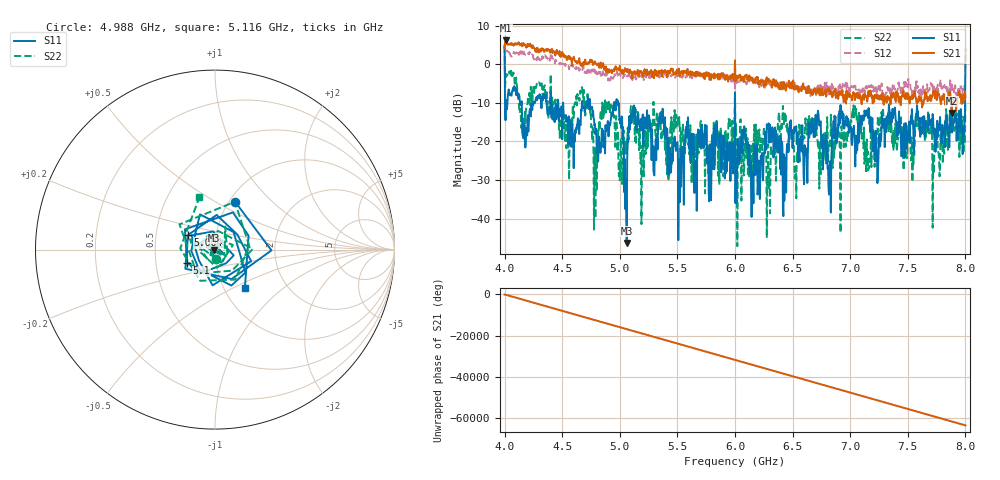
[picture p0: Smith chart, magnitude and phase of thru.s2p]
# Hz S RI R 50
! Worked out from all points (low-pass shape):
!   1001 points, 4 GHz to 8 GHz, reference 50 ohm
!   highest |S21| = 6.21 dB at 4.012 GHz (marker M1); lowest = -12.6 dB at 7.88 GHz (marker M2)
!   |S21| within 3 dB of the highest: start of sweep to 4.295 GHz; 4.297 GHz to 4.394 GHz (96.3 MHz wide, 2.22 % of centre) (the widest 2 of 7)
!   lowest |S11| = -46.4 dB at 5.06 GHz (marker M3), VSWR 1.01, Z = 49.6 - j0.194 ohm
!   |S11| at or under -10 dB: 4.742 GHz to 4.952 GHz (209.8 MHz wide, 4.33 % of centre); 4.986 GHz to 5.999 GHz (1.014 GHz wide, 18.5 % of centre); 6 GHz to 7.997 GHz (1.997 GHz wide, 28.5 % of centre) (the widest 3 of 17)
!   |S22| runs from -47.2 to 4.8 dB; largest |S21 - S12| = 2.2
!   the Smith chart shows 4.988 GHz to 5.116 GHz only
!   S11 on the Smith chart (normalised r, x): 4.988 GHz: 1.07, +0.62; 5.004 GHz: 0.73, +0.12; 5.1 GHz: 0.72, -0.11; 5.116 GHz: 1.25, -0.58
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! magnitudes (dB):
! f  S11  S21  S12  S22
! 4 GHz  4.9  4.3  4.5  4.8
! 4.012 GHz  -10.9  6.2  3.5  -3.4
! 4.544 GHz  -13.9  1.8  -0.3  -16.9
! 4.668 GHz  -12.1  -0.2  -1.8  -6.9
! 4.788 GHz  -18.1  0.4  -1.5  -39.9
! 4.884 GHz  -16.4  -2.0  -2.9  -9.8
! 4.988 GHz  -10.8  -1.5  -2.4  -25.5
! 5.004 GHz  -15.4  -1.3  -2.2  -26.0
! 5.06 GHz  -46.4  -1.9  -3.2  -19.8
! 5.1 GHz  -15.2  -2.3  -3.7  -14.3
! 5.116 GHz  -11.4  -2.0  -3.7  -10.3
! 5.336 GHz  -14.6  -2.3  -2.9  -16.9
! 6 GHz  -7.5  1.0  -6.3  -7.2
! 6.288 GHz  -16.5  -4.6  -5.4  -20.8
! 6.42 GHz  -39.3  -6.2  -6.3  -14.2
! 6.532 GHz  -16.0  -6.5  -6.4  -34.7
! 6.668 GHz  -15.5  -7.2  -6.5  -14.5
! 6.816 GHz  -33.8  -7.0  -7.8  -20.8
! 6.92 GHz  -13.9  -7.4  -7.1  -19.3
! 7.336 GHz  -10.4  -9.2  -6.2  -15.1
! 7.88 GHz  -14.2  -12.6  -5.2  -15.6
! 8 GHz  -0.1  -8.5  4.2  -9.5
